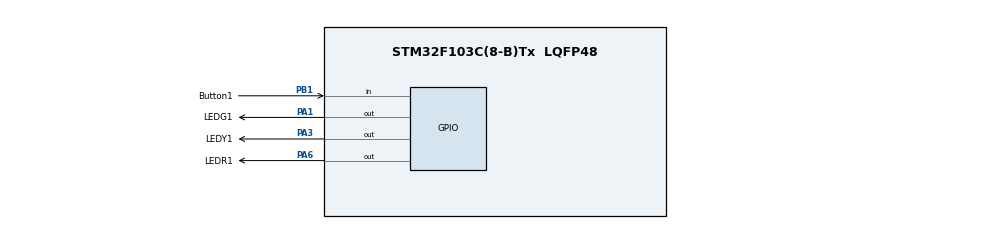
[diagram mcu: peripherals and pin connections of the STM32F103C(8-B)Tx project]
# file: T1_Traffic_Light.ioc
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Mcu.Family=STM32F1
Mcu.Name=STM32F103C(8-B)Tx
Mcu.Package=LQFP48
NVIC.PriorityGroup=NVIC_PRIORITYGROUP_4
PA1.GPIO_Label=LEDG1
PA1.Signal=GPIO_Output
PA3.GPIO_Label=LEDY1
PA3.Signal=GPIO_Output
PA6.GPIO_Label=LEDR1
PA6.Signal=GPIO_Output
PB1.GPIO_Label=Button1
PB1.GPIO_PuPd=GPIO_PULLDOWN
PB1.Signal=GPIO_Input
ProjectManager.HeapSize=0x200
ProjectManager.StackSize=0x400
ProjectManager.TargetToolchain=STM32CubeIDE
RCC.APB1Freq_Value=8000000
RCC.APB2Freq_Value=8000000
board=custom

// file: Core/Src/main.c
/* USER CODE BEGIN Header */
/**
  ******************************************************************************
  * @file           : main.c
  * @brief          : Main program body
  ******************************************************************************
  * @attention
  *
  * Copyright (c) 2025 STMicroelectronics.
  * All rights reserved.
  *
  * This software is licensed under terms that can be found in the LICENSE file
  * in the root directory of this software component.
  * If no LICENSE file comes with this software, it is provided AS-IS.
  *
  ******************************************************************************
  */
/* USER CODE END Header */
#include "main.h"

/* USER CODE BEGIN PD */
#define LED_ON	GPIO_PIN_RESET
#define LED_OFF	GPIO_PIN_SET
/* USER CODE END PD */

void SystemClock_Config(void);
static void MX_GPIO_Init(void);

int main(void)
{

  /* USER CODE BEGIN 1 */
  uint8_t button1_reading = 0;
  /* USER CODE END 1 */

  /* MCU Configuration--------------------------------------------------------*/

  /* Reset of all peripherals, Initializes the Flash interface and the Systick. */
  HAL_Init();

  /* Configure the system clock */
  SystemClock_Config();

  /* Initialize all configured peripherals */
  MX_GPIO_Init();

  /* Infinite loop */
  while (1)
  {

    /* USER CODE BEGIN 3 */
	  button1_reading = HAL_GPIO_ReadPin(Button1_GPIO_Port, Button1_Pin);

	  if(button1_reading == GPIO_PIN_SET){ // Button is On

		  // Green is on
		  HAL_GPIO_WritePin(LEDY1_GPIO_Port, LEDY1_Pin, LED_OFF);
		  HAL_GPIO_WritePin(LEDR1_GPIO_Port, LEDR1_Pin, LED_OFF);
		  for(uint8_t i=0;i<=3;i++ ){
			  HAL_GPIO_TogglePin(LEDG1_GPIO_Port, LEDG1_Pin);
			  HAL_Delay(500);
		  }

		  // Yellow is On
		  HAL_GPIO_WritePin(LEDG1_GPIO_Port, LEDG1_Pin, LED_OFF);
		  HAL_GPIO_WritePin(LEDR1_GPIO_Port, LEDR1_Pin, LED_OFF);
		  for(uint8_t i=0;i<=3;i++ ){
		 	HAL_GPIO_TogglePin(LEDY1_GPIO_Port, LEDY1_Pin);
		 	HAL_Delay(500);
		 }

		  // Red is On
		  HAL_GPIO_WritePin(LEDG1_GPIO_Port, LEDG1_Pin, LED_OFF);
		  HAL_GPIO_WritePin(LEDY1_GPIO_Port, LEDY1_Pin, LED_OFF);
		  for(uint8_t i=0;i<=3;i++ ){
		 	HAL_GPIO_TogglePin(LEDR1_GPIO_Port, LEDR1_Pin);
		 	HAL_Delay(500);
		 }

	  }
	  else{ //Button is off
		  HAL_GPIO_WritePin(LEDG1_GPIO_Port, LEDG1_Pin, LED_OFF);
		  HAL_GPIO_WritePin(LEDY1_GPIO_Port, LEDY1_Pin, LED_OFF);
		  HAL_GPIO_WritePin(LEDR1_GPIO_Port, LEDR1_Pin, LED_OFF);
	  }
  }
  /* USER CODE END 3 */
}

void SystemClock_Config(void)
{
  RCC_OscInitTypeDef RCC_OscInitStruct = {0};
  RCC_ClkInitTypeDef RCC_ClkInitStruct = {0};

  /** Initializes the RCC Oscillators according to the specified parameters
  * in the RCC_OscInitTypeDef structure.
  */
  RCC_OscInitStruct.OscillatorType = RCC_OSCILLATORTYPE_HSI;
  RCC_OscInitStruct.HSIState = RCC_HSI_ON;
  RCC_OscInitStruct.HSICalibrationValue = RCC_HSICALIBRATION_DEFAULT;
  RCC_OscInitStruct.PLL.PLLState = RCC_PLL_NONE;
  if (HAL_RCC_OscConfig(&RCC_OscInitStruct) != HAL_OK)
  {
    Error_Handler();
  }

  /** Initializes the CPU, AHB and APB buses clocks
  */
  RCC_ClkInitStruct.ClockType = RCC_CLOCKTYPE_HCLK|RCC_CLOCKTYPE_SYSCLK
                              |RCC_CLOCKTYPE_PCLK1|RCC_CLOCKTYPE_PCLK2;
  RCC_ClkInitStruct.SYSCLKSource = RCC_SYSCLKSOURCE_HSI;
  RCC_ClkInitStruct.AHBCLKDivider = RCC_SYSCLK_DIV1;
  RCC_ClkInitStruct.APB1CLKDivider = RCC_HCLK_DIV1;
  RCC_ClkInitStruct.APB2CLKDivider = RCC_HCLK_DIV1;

  if (HAL_RCC_ClockConfig(&RCC_ClkInitStruct, FLASH_LATENCY_0) != HAL_OK)
  {
    Error_Handler();
  }
}

static void MX_GPIO_Init(void)
{
  GPIO_InitTypeDef GPIO_InitStruct = {0};

  /* GPIO Ports Clock Enable */
  __HAL_RCC_GPIOA_CLK_ENABLE();
  __HAL_RCC_GPIOB_CLK_ENABLE();

  /*Configure GPIO pin Output Level */
  HAL_GPIO_WritePin(GPIOA, LEDG1_Pin|LEDY1_Pin|LEDR1_Pin, GPIO_PIN_RESET);

  /*Configure GPIO pins : LEDG1_Pin LEDY1_Pin LEDR1_Pin */
  GPIO_InitStruct.Pin = LEDG1_Pin|LEDY1_Pin|LEDR1_Pin;
  GPIO_InitStruct.Mode = GPIO_MODE_OUTPUT_PP;
  GPIO_InitStruct.Pull = GPIO_NOPULL;
  GPIO_InitStruct.Speed = GPIO_SPEED_FREQ_LOW;
  HAL_GPIO_Init(GPIOA, &GPIO_InitStruct);

  /*Configure GPIO pin : Button1_Pin */
  GPIO_InitStruct.Pin = Button1_Pin;
  GPIO_InitStruct.Mode = GPIO_MODE_INPUT;
  GPIO_InitStruct.Pull = GPIO_PULLDOWN;
  HAL_GPIO_Init(Button1_GPIO_Port, &GPIO_InitStruct);

}

void Error_Handler(void)
{
  __disable_irq();
  while (1)
  {
  }
}
